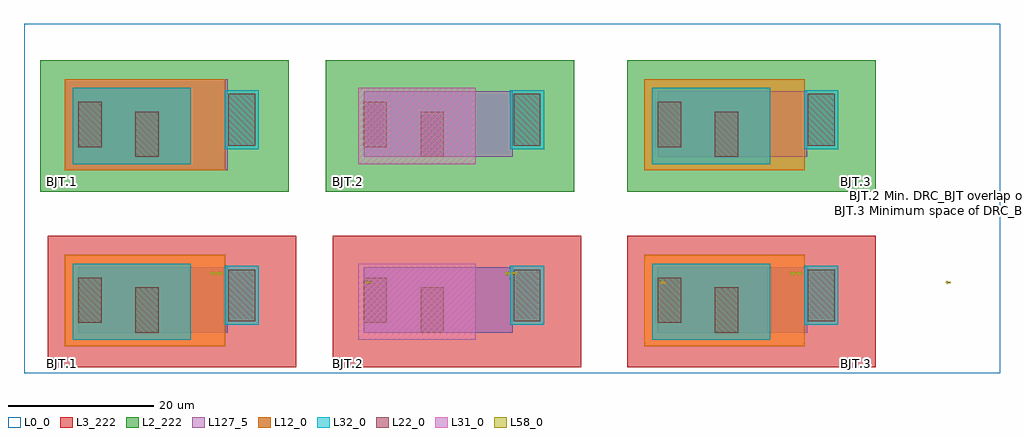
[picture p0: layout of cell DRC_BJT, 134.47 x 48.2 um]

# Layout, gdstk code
import gdstk
lib = gdstk.Library(unit=1e-6, precision=1e-09)
def R(c, l, rs):  # rectangles x0, y0, x1, y1
    for r in rs: c.add(gdstk.rectangle(r[:2], r[2:], *l))
def P(c, l, *ps):  # polygons
    for p in ps: c.add(gdstk.Polygon(p, *l))
L0_0 = (0, 0)
L2_222 = (2, 222)
L3_222 = (3, 222)
L12_0 = (12, 0)
L22_0 = (22, 0)
L31_0 = (31, 0)
L32_0 = (32, 0)
L58_0 = (58, 0)
L127_5 = (127, 5)

drc_bjt = lib.new_cell('DRC_BJT')
R(drc_bjt, L0_0, [(-135.722,1.45,-1.249,49.65)])
R(drc_bjt, L2_222, [(-133.484,26.493,-99.24,44.612), (-94.154,26.493,-59.91,44.612), (-52.614,26.493,-18.37,44.612)])
R(drc_bjt, L3_222, [(-132.454,2.293,-98.21,20.412), (-93.158,2.293,-58.914,20.412), (-52.614,2.293,-18.37,20.412)])
R(drc_bjt, L12_0, [(-130.082,5.19,-107.962,17.78), (-50.242,5.19,-28.122,17.78), (-130.082,29.41,-107.962,42), (-50.242,29.41,-28.122,42)])
R(drc_bjt, L22_0, [(-120.367,7.05,-117.157,13.305), (-81.071,7.05,-77.861,13.305), (-40.527,7.05,-37.317,13.305), (-128.222,8.4,-125.012,14.655), (-88.926,8.4,-85.716,14.655), (-48.382,8.4,-45.172,14.655), (-128.227,13.365,-128.222,14.655), (-88.931,13.365,-88.926,14.655), (-48.387,13.365,-48.382,14.655), (-120.367,31.27,-117.157,37.525), (-81.071,31.27,-77.861,37.525), (-40.527,31.27,-37.317,37.525), (-128.222,32.62,-125.012,38.875), (-88.926,32.62,-85.716,38.875), (-48.382,32.62,-45.172,38.875), (-128.227,37.585,-128.222,38.875), (-88.931,37.585,-88.926,38.875), (-48.387,37.585,-48.382,38.875)])
P(drc_bjt, L22_0, [(-107.557,32.85),(-107.557,39.215),(-107.562,39.215),(-107.562,39.97),(-103.862,39.97),(-103.862,32.85)],
  [(-68.261,32.85),(-68.261,39.215),(-68.266,39.215),(-68.266,39.97),(-64.566,39.97),(-64.566,32.85)],
  [(-27.717,32.85),(-27.717,39.215),(-27.722,39.215),(-27.722,39.97),(-24.022,39.97),(-24.022,32.85)],
  [(-107.557,8.63),(-107.557,14.995),(-107.562,14.995),(-107.562,15.75),(-103.862,15.75),(-103.862,8.63)],
  [(-68.261,8.63),(-68.261,14.995),(-68.266,14.995),(-68.266,15.75),(-64.566,15.75),(-64.566,8.63)],
  [(-27.717,8.63),(-27.717,14.995),(-27.722,14.995),(-27.722,15.75),(-24.022,15.75),(-24.022,8.63)])
R(drc_bjt, L31_0, [(-89.696,6.055,-73.461,16.59), (-89.696,30.275,-73.461,40.81)])
R(drc_bjt, L32_0, [(-128.992,6.055,-112.757,16.59), (-49.152,6.055,-32.917,16.59), (-128.992,30.275,-112.757,40.81), (-49.152,30.275,-32.917,40.81)])
P(drc_bjt, L32_0, [(-108.057,32.35),(-108.057,38.715),(-108.062,38.715),(-108.062,40.47),(-103.362,40.47),(-103.362,32.35)],
  [(-68.761,32.35),(-68.761,38.715),(-68.766,38.715),(-68.766,40.47),(-64.066,40.47),(-64.066,32.35)],
  [(-28.217,32.35),(-28.217,38.715),(-28.222,38.715),(-28.222,40.47),(-23.522,40.47),(-23.522,32.35)],
  [(-108.057,8.13),(-108.057,14.495),(-108.062,14.495),(-108.062,16.25),(-103.362,16.25),(-103.362,8.13)],
  [(-68.761,8.13),(-68.761,14.495),(-68.766,14.495),(-68.766,16.25),(-64.066,16.25),(-64.066,8.13)],
  [(-28.217,8.13),(-28.217,14.495),(-28.222,14.495),(-28.222,16.25),(-23.522,16.25),(-23.522,8.13)])
P(drc_bjt, L58_0, [(-29.649,15.005),(-29.649,15.125),(-30.129,15.125),(-30.129,15.365),(-29.649,15.365),(-29.649,15.485),(-29.409,15.245)],
  [(-29.074,15.005),(-29.314,15.245),(-29.074,15.485),(-29.074,15.365),(-28.594,15.365),(-28.594,15.125),(-29.074,15.125)],
  [(-8.504,13.745),(-8.744,13.985),(-8.504,14.225),(-8.504,14.105),(-8.024,14.105),(-8.024,13.865),(-8.504,13.865)],
  [(-47.8,13.745),(-48.04,13.985),(-47.8,14.225),(-47.8,14.105),(-47.32,14.105),(-47.32,13.865),(-47.8,13.865)],
  [(-68.37,15.005),(-68.61,15.245),(-68.37,15.485),(-68.37,15.365),(-67.89,15.365),(-67.89,15.125),(-68.37,15.125)],
  [(-68.945,15.005),(-68.945,15.125),(-69.425,15.125),(-69.425,15.365),(-68.945,15.365),(-68.945,15.485),(-68.705,15.245)],
  [(-109.489,15.005),(-109.489,15.125),(-109.969,15.125),(-109.969,15.365),(-109.489,15.365),(-109.489,15.485),(-109.249,15.245)],
  [(-108.914,15.005),(-109.154,15.245),(-108.914,15.485),(-108.914,15.365),(-108.434,15.365),(-108.434,15.125),(-108.914,15.125)],
  [(-88.344,13.745),(-88.584,13.985),(-88.344,14.225),(-88.344,14.105),(-87.864,14.105),(-87.864,13.865),(-88.344,13.865)])
R(drc_bjt, L127_5, [(-128.222,7.05,-107.657,16.09), (-88.926,7.05,-68.361,16.09), (-48.382,7.05,-27.817,16.09), (-130.082,29.41,-107.657,42.01), (-88.936,31.27,-68.361,40.31), (-48.382,31.27,-27.827,40.31)])
drc_bjt.add(gdstk.Label('BJT.1', (-130.49,27.848), layer=11, texttype=222))
drc_bjt.add(gdstk.Label('BJT.2', (-91.194,27.848), layer=11, texttype=222))
drc_bjt.add(gdstk.Label('BJT.3', (-21.205,27.848), layer=11, texttype=222))
drc_bjt.add(gdstk.Label('BJT.1', (-130.49,2.818), layer=11, texttype=222))
drc_bjt.add(gdstk.Label('BJT.2', (-91.194,2.818), layer=11, texttype=222))
drc_bjt.add(gdstk.Label('BJT.3', (-21.205,2.818), layer=11, texttype=222))
drc_bjt.add(gdstk.Label('BJT.1 Min. DRC_BJT overlap of DNWELL for NPN BJT = 0', (-2.334,27.721), layer=58, texttype=0))
drc_bjt.add(gdstk.Label('BJT.2 Min. DRC_BJT overlap of PCOMP in Psub  = 0', (-2.334,25.913), layer=58, texttype=0))
drc_bjt.add(gdstk.Label('BJT.3 Minimum space of DRC_BJT layer to unrelated COMP = 0.1', (-2.334,23.914), layer=58, texttype=0))

lib.write_gds('DRC_BJT.gds')
